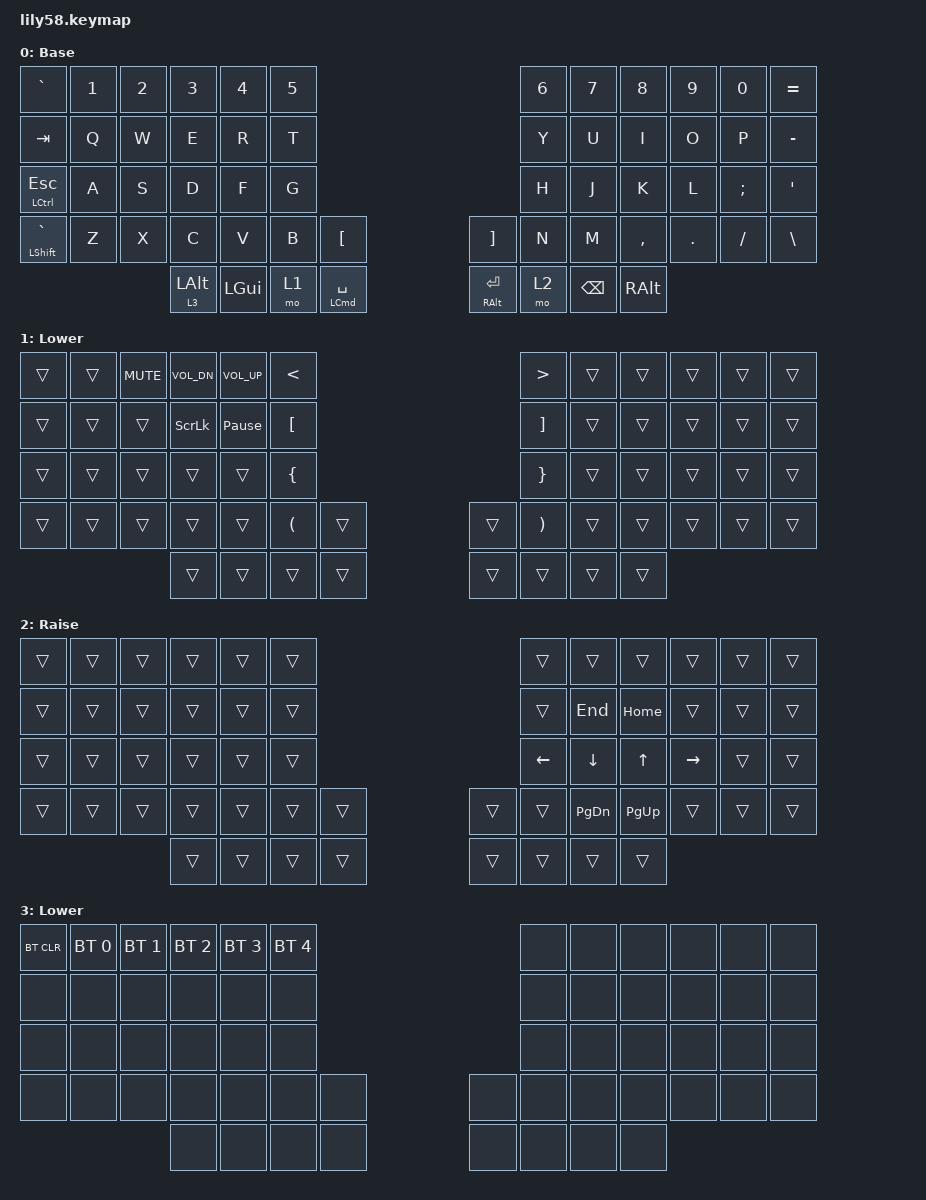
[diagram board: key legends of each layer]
/*
 * Copyright (c) 2020 The ZMK Contributors
 *
 * SPDX-License-Identifier: MIT
 */

#include <behaviors.dtsi>
#include <dt-bindings/zmk/bt.h>
#include <dt-bindings/zmk/keys.h>

/ {
    keymap {
        compatible = "zmk,keymap";

        default_layer {
            // ------------------------------------------------------------------------------------------------------------
            // |  ESC  |  1  |  2  |  3   |  4   |  5   |                   |  6   |  7    |  8    |  9   |   0   |   `   |
            // |  TAB  |  Q  |  W  |  E   |  R   |  T   |                   |  Y   |  U    |  I    |  O   |   P   |   -   |
            // |  CTRL |  A  |  S  |  D   |  F   |  G   |                   |  H   |  J    |  K    |  L   |   ;   |   '   |
            // | SHIFT |  Z  |  X  |  C   |  V   |  B   |   "["  |  |  "]"  |  N   |  M    |  ,    |  .   |   /   | SHIFT |
            //                     | ALT  | GUI  | LOWER|  SPACE |  | ENTER | RAISE| BSPC  | GUI   |

            display-name = "Base";
            bindings = <
&kp GRAVE             &kp N1  &kp N2  &kp N3          &kp N4    &kp N5                                                 &kp N6  &kp N7         &kp N8         &kp N9   &kp N0    &kp EQUAL
&kp TAB               &kp Q   &kp W   &kp E           &kp R     &kp T                                                  &kp Y   &kp U          &kp I          &kp O    &kp P     &kp MINUS
&mt LCTRL ESCAPE      &kp A   &kp S   &kp D           &kp F     &kp G                                                  &kp H   &kp J          &kp K          &kp L    &kp SEMI  &kp SQT
&mt LEFT_SHIFT GRAVE  &kp Z   &kp X   &kp C           &kp V     &kp B   &kp LEFT_BRACKET          &kp RBKT             &kp N   &kp M          &kp COMMA      &kp DOT  &kp FSLH  &kp BACKSLASH
                                      &lt 3 LEFT_ALT  &kp LGUI  &mo 1   &mt LEFT_COMMAND SPACE    &mt RIGHT_ALT ENTER  &mo 2   &kp BACKSPACE  &kp RIGHT_ALT
            >;
        };

        lower_layer {
            // ------------------------------------------------------------------------------------------------------------
            // | BTCLR | BT1 | BT2 |  BT3 |  BT4 |  BT5 |                   |      |       |       |      |       |       |
            // |  F1   |  F2 |  F3 |  F4  |  F5  |  F6  |                   |  F7  |  F8   |  F9   |  F10 |  F11  |  F12  |
            // |   `   |  !  |  @  |  #   |  $   |  %   |                   |  ^   |  &    |  *    |  (   |   )   |   ~   |
            // |       |     |     |      |      |      |        |  |       |      |  _    |  +    |  {   |   }   |  "|"  |
            //                     |      |      |      |        |  |       |      |       |       |

            display-name = "Lower";
            bindings = <
&trans  &trans  &kp K_MUTE  &kp C_VOL_DN    &kp C_VOLUME_UP  &kp LESS_THAN                           &kp GREATER_THAN       &trans  &trans  &trans  &trans  &trans
&trans  &trans  &trans      &kp SCROLLLOCK  &kp PAUSE_BREAK  &kp LEFT_BRACKET                        &kp RIGHT_BRACKET      &trans  &trans  &trans  &trans  &trans
&trans  &trans  &trans      &trans          &trans           &kp LEFT_BRACE                          &kp RIGHT_BRACE        &trans  &trans  &trans  &trans  &trans
&trans  &trans  &trans      &trans          &trans           &kp LEFT_PARENTHESIS  &trans    &trans  &kp RIGHT_PARENTHESIS  &trans  &trans  &trans  &trans  &trans
                            &trans          &trans           &trans                &trans    &trans  &trans                 &trans  &trans
            >;
        };

        raise_layer {
            // ------------------------------------------------------------------------------------------------------------
            // |       |     |     |      |      |      |                   |      |       |       |      |       |       |
            // |   `   |  1  |  2  |  3   |  4   |  5   |                   |  6   |   7   |   8   |  9   |   0   |       |
            // |   F1  |  F2 |  F3 |  F4  |  F5  |  F6  |                   |      |   <-  |   v   |  ^   |  ->   |       |
            // |   F7  |  F8 |  F9 |  F10 |  F11 |  F12 |        |  |       |  +   |   -   |   =   |  [   |   ]   |   \   |
            //                     |      |      |      |        |  |       |      |       |       |

            display-name = "Raise";
            bindings = <
&trans  &trans  &trans  &trans  &trans  &trans                    &trans    &trans         &trans        &trans     &trans  &trans
&trans  &trans  &trans  &trans  &trans  &trans                    &trans    &kp END        &kp HOME      &trans     &trans  &trans
&trans  &trans  &trans  &trans  &trans  &trans                    &kp LEFT  &kp DOWN       &kp UP_ARROW  &kp RIGHT  &trans  &trans
&trans  &trans  &trans  &trans  &trans  &trans  &trans    &trans  &trans    &kp PAGE_DOWN  &kp PAGE_UP   &trans     &trans  &trans
                        &trans  &trans  &trans  &trans    &trans  &trans    &trans         &trans
            >;
        };

        keyboard_setup {
            // | BTCLR | BT1 | BT2 |  BT3 |  BT4 |  BT5 |                   |      |       |       |      |       |       |
            // |  F1   |  F2 |  F3 |  F4  |  F5  |  F6  |                   |  F7  |  F8   |  F9   |  F10 |  F11  |  F12  |
            // |   `   |  !  |  @  |  #   |  $   |  %   |                   |  ^   |  &    |  *    |  (   |   )   |   ~   |
            // |       |     |     |      |      |      |        |  |       |      |  _    |  +    |  {   |   }   |  "|"  |
            //                     |      |      |      |        |  |       |      |       |       |

            display-name = "Lower";
            bindings = <
&bt BT_CLR  &bt BT_SEL 0  &bt BT_SEL 1  &bt BT_SEL 2  &bt BT_SEL 3  &bt BT_SEL 4                  &none  &none  &none  &none  &none  &none
&none       &none         &none         &none         &none         &none                         &none  &none  &none  &none  &none  &none
&none       &none         &none         &none         &none         &none                         &none  &none  &none  &none  &none  &none
&none       &none         &none         &none         &none         &none         &none    &none  &none  &none  &none  &none  &none  &none
                                        &none         &none         &none         &none    &none  &none  &none  &none
            >;
        };

        extra_2 { status = "reserved"; };

        extra_3 { status = "reserved"; };
    };
};
